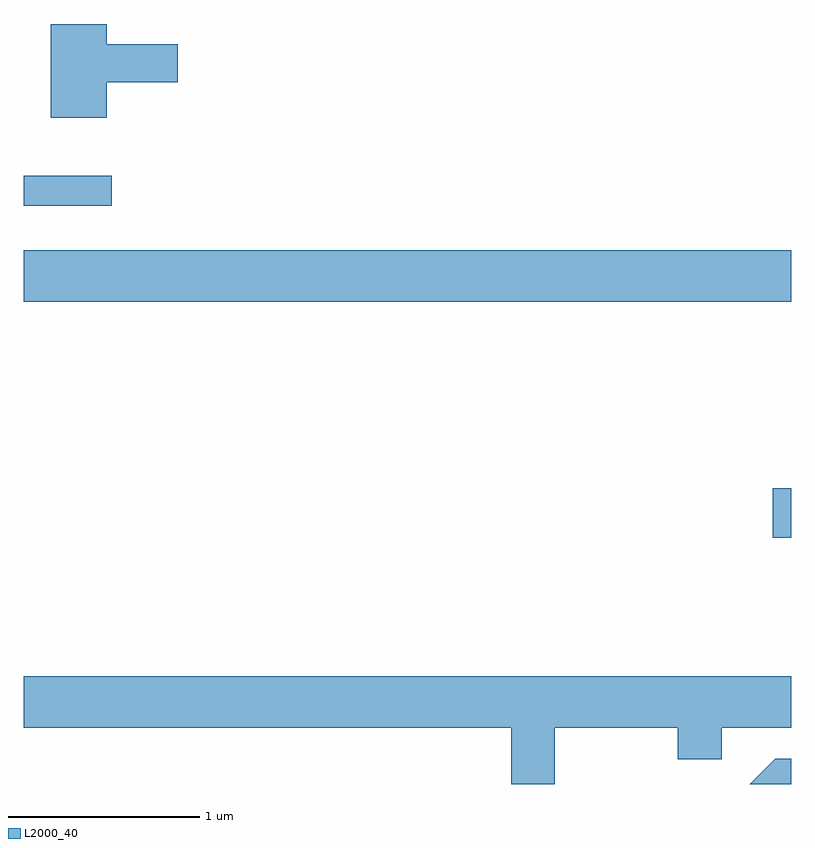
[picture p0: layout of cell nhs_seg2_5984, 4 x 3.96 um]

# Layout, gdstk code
import gdstk
lib = gdstk.Library(unit=1e-6, precision=1e-09)
def R(c, l, rs):  # rectangles x0, y0, x1, y1
    for r in rs: c.add(gdstk.rectangle(r[:2], r[2:], *l))
def P(c, l, *ps):  # polygons
    for p in ps: c.add(gdstk.Polygon(p, *l))
L2000_40 = (2000, 40)

nhs_seg2_5984 = lib.new_cell('nhs_seg2_5984')
R(nhs_seg2_5984, L2000_40, [(365.516,1047.086,365.611,1047.344), (361.611,1048.316,365.611,1048.584), (361.611,1048.816,362.068,1048.974)])
P(nhs_seg2_5984, L2000_40, [(362.044,1049.461),(362.414,1049.461),(362.414,1049.659),(362.044,1049.659),(362.044,1049.764),(361.751,1049.764),(361.751,1049.276),(362.044,1049.276)],
  [(364.379,1046.096),(365.021,1046.096),(365.021,1045.931),(365.249,1045.931),(365.249,1046.096),(365.611,1046.096),(365.611,1046.364),(361.611,1046.364),(361.611,1046.096),(364.151,1046.096),(364.151,1045.802),(364.379,1045.802)],
  [(365.611,1045.934),(365.529,1045.934),(365.396,1045.802),(365.611,1045.802)])

lib.write_gds('nhs_seg2_5984.gds')
